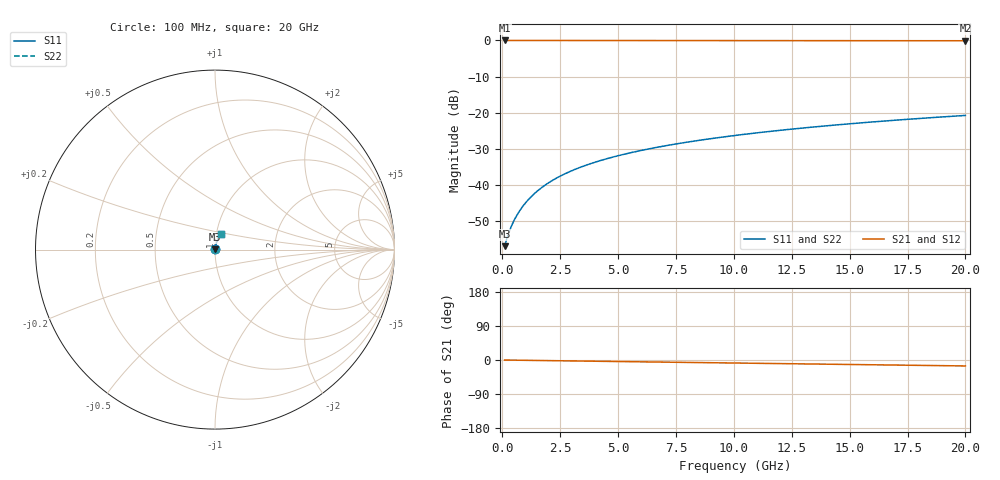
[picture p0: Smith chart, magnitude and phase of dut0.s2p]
! Touchstone file exported from HFSS 2026.1.0
!  File:  C:/ffzhzh/LocalFiles/Ansys_Project_Files/temp_test_TMRDL_0_1782906580_13352.aedt
!  Generated:  07:51:23 PM Jul  1, 2026
!  Design:  TMRDL
!  Project:  temp_test_TMRDL_0_1782906580_13352
! Variables:
!  h_bsmrdl = 2um
!  h_ox = 20um
!  h_rdl = 5um
!  h_sub = 80um
!  h_tmrdl = 5.5um
!  h_tsv = 80um
!  h_via = 3um
!  l_bsmrdl = 300um
!  l_sub = 657.05um
!  l_tmrdl = 257.05um
!  m_sub = 200um
!  pitch = 24.68um
!  r_tsv = 6um
!  s_tmrdl = 10um
!  w_bsmrdl = 18um
!  w_sub = 500um
!  w_tmrdl = 14.58um
!  x_tsv_center1 = 264.34um
!  x_tsv_center2 = 582.34um
!  x_tsv_center3 = 853.97um
!  x_tsv_center4 = 1171.97um
!  x_tsv_center5 = 1443.6um
!  x_tsv_center6 = 1761.6um
# GHz S MA R 50.000000
! Terminal data exported
! Port[1] = TM_RDL1_1_T1
! Port[2] = TM_RDL1_1_T2
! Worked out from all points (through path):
!   200 points, 100 MHz to 20 GHz, reference 50 ohm
!   highest |S21| = -0.01 dB at 100 MHz (marker M1); lowest = -0.1 dB at 20 GHz (marker M2)
!   group delay of S21, straight-line fit = 2.17 ps
!   lowest |S11| = -57.0 dB at 100 MHz (marker M3), VSWR 1.00, Z = 50.1 + j0.0639 ohm
!   |S11| at or under -10 dB: start of sweep to end of sweep
!   |S22| runs from -57.0 to -20.8 dB; largest |S21 - S12| = 3.5e-15
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0.1  0.001414 26.8  0.9987 -0.1  0.9987 -0.1  0.001414 26.8
! Gamma 0 0 0 0
! Port Impedance 50 0 50 0
0.2  0.001816 42.1  0.9987 -0.2  0.9987 -0.2  0.001816 42.1
0.3  0.002257 50.9  0.9986 -0.3  0.9986 -0.3  0.002257 50.9
0.4  0.002709 56.8  0.9985 -0.3  0.9985 -0.3  0.002709 56.8
0.5  0.003172 61.1  0.9985 -0.4  0.9985 -0.4  0.003172 61.1
0.6  0.003644 64.5  0.9984 -0.5  0.9984 -0.5  0.003644 64.5
0.8  0.004616 69.1  0.9984 -0.7  0.9984 -0.7  0.004616 69.1
1  0.005611 72.1  0.9983 -0.8  0.9983 -0.8  0.005611 72.1
1.2  0.006619 74.1  0.9983 -1.0  0.9983 -1.0  0.006618 74.1
1.4  0.007633 75.5  0.9982 -1.2  0.9982 -1.2  0.007633 75.5
1.7  0.009158 76.9  0.9981 -1.4  0.9981 -1.4  0.009158 76.9
2.2  0.01169 78.1  0.9979 -1.8  0.9979 -1.8  0.01169 78.1
2.8  0.01469 78.7  0.9976 -2.3  0.9976 -2.3  0.01469 78.7
3.5  0.01814 78.9  0.9972 -2.9  0.9972 -2.9  0.01814 78.9
4.2  0.02152 78.8  0.9969 -3.4  0.9969 -3.4  0.02152 78.8
5  0.02531 78.5  0.9964 -4.0  0.9964 -4.0  0.02531 78.5
6.8  0.03364 77.8  0.9955 -5.5  0.9955 -5.5  0.03364 77.8
8.3  0.04044 77.0  0.9947 -6.6  0.9947 -6.6  0.04044 77.0
10.1  0.04851 76.1  0.9939 -8.0  0.9939 -8.0  0.0485 76.1
13.4  0.06307 74.1  0.9922 -10.6  0.9922 -10.6  0.06307 74.1
16.7  0.07739 72.1  0.9905 -13.2  0.9905 -13.2  0.07739 72.1
20  0.09144 69.9  0.9887 -15.7  0.9887 -15.7  0.09143 69.9
